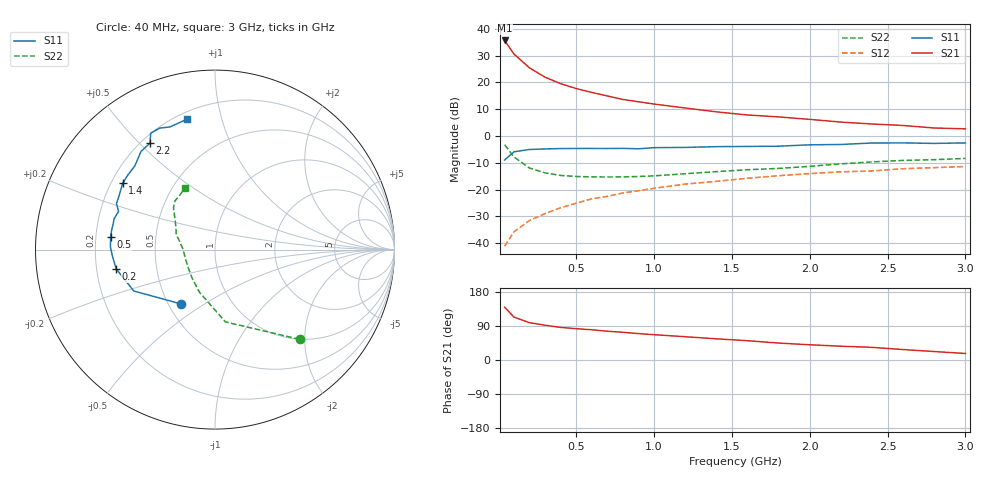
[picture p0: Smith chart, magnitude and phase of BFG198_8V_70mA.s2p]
! Filename:  BFG198J.S2P  Version:  2.0
! Philips part #: BFG198  Date: Jul 1990
! Bias condition: Vce=8V, Ic=70mA
#  MHz  S  MA  R  50
! Freq  S11  S21  S12  S22  !GUM [dB]
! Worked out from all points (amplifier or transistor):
!   21 points, 40 MHz to 3 GHz, reference 50 ohm
!   highest |S21| = 35.6 dB at 40 MHz (marker M1)
!   |S21| within 3 dB of that: start of sweep to 75.65 MHz
!   unconditionally stable (mu >= 1): 380.1 MHz to 1.963 GHz; 2.146 GHz to 2.212 GHz
!   at 300 MHz: K = 0.97, MSG = 25.4 dB, |S12| = -28.9 dB
!   at 1 GHz: K = 1.05, MAG = 14.4 dB, |S12| = -19.5 dB
!   at 3 GHz: K = 0.96, MSG = 7.0 dB, |S12| = -11.4 dB
!   S11 on the Smith chart (normalised r, x): 40 MHz: 0.58, -0.40; 200 MHz: 0.28, -0.09; 500 MHz: 0.26, +0.06; 1.4 GHz: 0.25, +0.30; 2.2 GHz: 0.23, +0.54; 3 GHz: 0.24, +0.78
40  0.357 -122.0  60.32 139.1  0.00885 69.9  0.687 -46.7
100  0.508 -153.0  33.73 113.3  0.0164 64.7  0.407 -81.8
200  0.561 -169.0  18.61 98.4  0.0266 65.9  0.253 -110.0
300  0.574 -177.0  12.48 91.8  0.0359 69.8  0.205 -128.0
400  0.583 178.5  9.438 86.0  0.0461 71.5  0.184 -142.0
500  0.586 173.0  7.651 82.6  0.056 71.6  0.176 -151.0
600  0.586 169.9  6.488 79.8  0.0676 71.8  0.173 -159.0
700  0.585 166.0  5.579 76.0  0.0751 70.6  0.172 -165.0
800  0.588 163.1  4.79 73.1  0.0868 71.7  0.173 -171.0
900  0.578 158.4  4.346 69.7  0.0955 71.1  0.176 -177.0
1000  0.606 154.9  3.941 66.8  0.106 69.7  0.181 177.5
1200  0.613 150.7  3.325 61.4  0.127 68.3  0.198 168.8
1400  0.633 144.3  2.82 55.9  0.143 66.0  0.217 162.3
1600  0.639 139.7  2.464 50.9  0.163 64.6  0.235 157.2
1800  0.646 133.7  2.267 44.7  0.182 60.1  0.249 150.9
2000  0.685 127.0  2.042 40.2  0.199 57.6  0.272 144.5
2200  0.695 121.4  1.817 36.4  0.215 55.2  0.303 138.5
2400  0.741 118.9  1.675 33.4  0.223 55.0  0.329 134.7
2600  0.744 114.5  1.57 27.6  0.246 51.2  0.351 129.5
2800  0.728 110.2  1.409 22.3  0.257 46.7  0.362 122.5
3000  0.743 102.1  1.36 17.2  0.27 45.2  0.382 116.0
